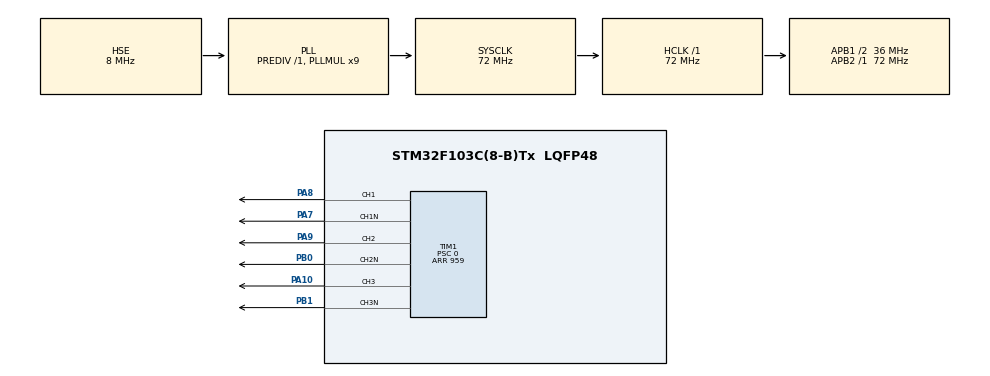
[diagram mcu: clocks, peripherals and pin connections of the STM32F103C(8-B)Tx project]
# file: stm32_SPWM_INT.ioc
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Mcu.Family=STM32F1
Mcu.Name=STM32F103C(8-B)Tx
Mcu.Package=LQFP48
NVIC.PriorityGroup=NVIC_PRIORITYGROUP_4
NVIC.TIM1_CC_IRQn=true\:0\:0\:false\:false\:true\:true\:true\:true
NVIC.TIM1_TRG_COM_IRQn=true\:0\:0\:false\:false\:true\:true\:true\:true
NVIC.TIM1_UP_IRQn=true\:0\:0\:false\:false\:true\:true\:true\:true
NVIC.TIM2_IRQn=true\:0\:0\:false\:false\:true\:true\:true\:true
PA10.Signal=S_TIM1_CH3
PA7.Mode=PWM Generation1 CH1 CH1N
PA7.Signal=TIM1_CH1N
PA8.Signal=S_TIM1_CH1
PA9.Signal=S_TIM1_CH2
PB0.Mode=PWM Generation2 CH2 CH2N
PB0.Signal=TIM1_CH2N
PB1.Mode=PWM Generation3 CH3 CH3N
PB1.Signal=TIM1_CH3N
PD0-OSC_IN.Mode=HSE-External-Oscillator
PD0-OSC_IN.Signal=RCC_OSC_IN
PD1-OSC_OUT.Mode=HSE-External-Oscillator
PD1-OSC_OUT.Signal=RCC_OSC_OUT
ProjectManager.HeapSize=0x200
ProjectManager.StackSize=0x400
ProjectManager.TargetToolchain=STM32CubeIDE
RCC.AHBFreq_Value=72000000
RCC.APB1CLKDivider=RCC_HCLK_DIV2
RCC.APB1Freq_Value=36000000
RCC.APB1TimFreq_Value=72000000
RCC.APB2Freq_Value=72000000
RCC.APB2TimFreq_Value=72000000
RCC.HCLKFreq_Value=72000000
RCC.PLLMUL=RCC_PLL_MUL9
RCC.PLLSourceVirtual=RCC_PLLSOURCE_HSE
RCC.SYSCLKFreq_VALUE=72000000
RCC.SYSCLKSource=RCC_SYSCLKSOURCE_PLLCLK
RCC.USBFreq_Value=72000000
SH.S_TIM1_CH1.0=TIM1_CH1,PWM Generation1 CH1 CH1N
SH.S_TIM1_CH2.0=TIM1_CH2,PWM Generation2 CH2 CH2N
SH.S_TIM1_CH3.0=TIM1_CH3,PWM Generation3 CH3 CH3N
TIM1.Channel-PWM\ Generation1\ CH1\ CH1N=TIM_CHANNEL_1
TIM1.Channel-PWM\ Generation2\ CH2\ CH2N=TIM_CHANNEL_2
TIM1.Channel-PWM\ Generation3\ CH3\ CH3N=TIM_CHANNEL_3
TIM1.CounterMode=TIM_COUNTERMODE_CENTERALIGNED3
TIM1.DeadTime=172
TIM1.Period=959
TIM1.Prescaler=0
TIM1.TIM_MasterOutputTrigger=TIM_TRGO_ENABLE
TIM2.CounterMode=TIM_COUNTERMODE_CENTERALIGNED3
TIM2.Period=959
TIM2.Prescaler=0
TIM2.TIM_MasterOutputTrigger=TIM_TRGO_UPDATE
VP_TIM1_VS_ClockSourceINT.Mode=Internal
VP_TIM2_VS_ClockSourceINT.Mode=Internal
VP_TIM2_VS_ClockSourceITR.Mode=TriggerSource_ITR0
VP_TIM2_VS_ControllerModeTrigger.Mode=Trigger Mode
board=custom

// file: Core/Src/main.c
/* USER CODE BEGIN Header */
/**
  ******************************************************************************
  * @file           : main.c
  * @brief          : Main program body
  ******************************************************************************
  * @attention
  *
  * Copyright (c) 2024 STMicroelectronics.
  * All rights reserved.
  *
  * This software is licensed under terms that can be found in the LICENSE file
  * in the root directory of this software component.
  * If no LICENSE file comes with this software, it is provided AS-IS.
  *
  ******************************************************************************
  */
/* USER CODE END Header */
#include "main.h"

/* USER CODE BEGIN Includes */
#include "math.h"
/* USER CODE END Includes */

TIM_HandleTypeDef htim1;
TIM_HandleTypeDef htim2;

/* USER CODE BEGIN PV */
uint16_t nValues;
uint16_t counter = 0;
uint16_t sinValues[5000]; // Size depends on frequency

double m = 0.25;

uint16_t phaseA = 0;
uint16_t phaseB;
uint16_t phaseC;

uint16_t freq = 7.5; // Between 375 and 10 Hz
/* USER CODE END PV */

void SystemClock_Config(void);
static void MX_GPIO_Init(void);
static void MX_TIM1_Init(void);
static void MX_TIM2_Init(void);
/* USER CODE BEGIN PFP */
void sineValuesGeneration(void);
/* USER CODE END PFP */

int main(void)
{

  /* MCU Configuration--------------------------------------------------------*/

  /* Reset of all peripherals, Initializes the Flash interface and the Systick. */
  HAL_Init();

  /* Configure the system clock */
  SystemClock_Config();

  /* Initialize all configured peripherals */
  MX_GPIO_Init();
  MX_TIM1_Init();
  MX_TIM2_Init();
  /* USER CODE BEGIN 2 */
  sineValuesGeneration();

  HAL_TIM_Base_Start_IT(&htim2);
  HAL_Delay(250);

  HAL_TIM_PWM_Start(&htim1, TIM_CHANNEL_1);
  HAL_TIMEx_PWMN_Start(&htim1, TIM_CHANNEL_1);

  HAL_TIM_PWM_Start(&htim1, TIM_CHANNEL_2);
  HAL_TIMEx_PWMN_Start(&htim1, TIM_CHANNEL_2);

  HAL_TIM_PWM_Start(&htim1, TIM_CHANNEL_3);
  HAL_TIMEx_PWMN_Start(&htim1, TIM_CHANNEL_3);
  /* USER CODE END 2 */

  /* Infinite loop */
  while (1)
  {

  }
}

void SystemClock_Config(void)
{
  RCC_OscInitTypeDef RCC_OscInitStruct = {0};
  RCC_ClkInitTypeDef RCC_ClkInitStruct = {0};

  /** Initializes the RCC Oscillators according to the specified parameters
  * in the RCC_OscInitTypeDef structure.
  */
  RCC_OscInitStruct.OscillatorType = RCC_OSCILLATORTYPE_HSE;
  RCC_OscInitStruct.HSEState = RCC_HSE_ON;
  RCC_OscInitStruct.HSEPredivValue = RCC_HSE_PREDIV_DIV1;
  RCC_OscInitStruct.HSIState = RCC_HSI_ON;
  RCC_OscInitStruct.PLL.PLLState = RCC_PLL_ON;
  RCC_OscInitStruct.PLL.PLLSource = RCC_PLLSOURCE_HSE;
  RCC_OscInitStruct.PLL.PLLMUL = RCC_PLL_MUL9;
  if (HAL_RCC_OscConfig(&RCC_OscInitStruct) != HAL_OK)
  {
    Error_Handler();
  }

  /** Initializes the CPU, AHB and APB buses clocks
  */
  RCC_ClkInitStruct.ClockType = RCC_CLOCKTYPE_HCLK|RCC_CLOCKTYPE_SYSCLK
                              |RCC_CLOCKTYPE_PCLK1|RCC_CLOCKTYPE_PCLK2;
  RCC_ClkInitStruct.SYSCLKSource = RCC_SYSCLKSOURCE_PLLCLK;
  RCC_ClkInitStruct.AHBCLKDivider = RCC_SYSCLK_DIV1;
  RCC_ClkInitStruct.APB1CLKDivider = RCC_HCLK_DIV2;
  RCC_ClkInitStruct.APB2CLKDivider = RCC_HCLK_DIV1;

  if (HAL_RCC_ClockConfig(&RCC_ClkInitStruct, FLASH_LATENCY_2) != HAL_OK)
  {
    Error_Handler();
  }
}

static void MX_TIM1_Init(void)
{

  TIM_ClockConfigTypeDef sClockSourceConfig = {0};
  TIM_MasterConfigTypeDef sMasterConfig = {0};
  TIM_OC_InitTypeDef sConfigOC = {0};
  TIM_BreakDeadTimeConfigTypeDef sBreakDeadTimeConfig = {0};

  htim1.Instance = TIM1;
  htim1.Init.Prescaler = 0;
  htim1.Init.CounterMode = TIM_COUNTERMODE_CENTERALIGNED3;
  htim1.Init.Period = 959;
  htim1.Init.ClockDivision = TIM_CLOCKDIVISION_DIV1;
  htim1.Init.RepetitionCounter = 0;
  htim1.Init.AutoReloadPreload = TIM_AUTORELOAD_PRELOAD_DISABLE;
  if (HAL_TIM_Base_Init(&htim1) != HAL_OK)
  {
    Error_Handler();
  }
  sClockSourceConfig.ClockSource = TIM_CLOCKSOURCE_INTERNAL;
  if (HAL_TIM_ConfigClockSource(&htim1, &sClockSourceConfig) != HAL_OK)
  {
    Error_Handler();
  }
  if (HAL_TIM_PWM_Init(&htim1) != HAL_OK)
  {
    Error_Handler();
  }
  sMasterConfig.MasterOutputTrigger = TIM_TRGO_ENABLE;
  sMasterConfig.MasterSlaveMode = TIM_MASTERSLAVEMODE_DISABLE;
  if (HAL_TIMEx_MasterConfigSynchronization(&htim1, &sMasterConfig) != HAL_OK)
  {
    Error_Handler();
  }
  sConfigOC.OCMode = TIM_OCMODE_PWM1;
  sConfigOC.Pulse = 0;
  sConfigOC.OCPolarity = TIM_OCPOLARITY_HIGH;
  sConfigOC.OCNPolarity = TIM_OCNPOLARITY_HIGH;
  sConfigOC.OCFastMode = TIM_OCFAST_DISABLE;
  sConfigOC.OCIdleState = TIM_OCIDLESTATE_RESET;
  sConfigOC.OCNIdleState = TIM_OCNIDLESTATE_RESET;
  if (HAL_TIM_PWM_ConfigChannel(&htim1, &sConfigOC, TIM_CHANNEL_1) != HAL_OK)
  {
    Error_Handler();
  }
  if (HAL_TIM_PWM_ConfigChannel(&htim1, &sConfigOC, TIM_CHANNEL_2) != HAL_OK)
  {
    Error_Handler();
  }
  if (HAL_TIM_PWM_ConfigChannel(&htim1, &sConfigOC, TIM_CHANNEL_3) != HAL_OK)
  {
    Error_Handler();
  }
  sBreakDeadTimeConfig.OffStateRunMode = TIM_OSSR_DISABLE;
  sBreakDeadTimeConfig.OffStateIDLEMode = TIM_OSSI_DISABLE;
  sBreakDeadTimeConfig.LockLevel = TIM_LOCKLEVEL_OFF;
  sBreakDeadTimeConfig.DeadTime = 172;
  sBreakDeadTimeConfig.BreakState = TIM_BREAK_DISABLE;
  sBreakDeadTimeConfig.BreakPolarity = TIM_BREAKPOLARITY_HIGH;
  sBreakDeadTimeConfig.AutomaticOutput = TIM_AUTOMATICOUTPUT_DISABLE;
  if (HAL_TIMEx_ConfigBreakDeadTime(&htim1, &sBreakDeadTimeConfig) != HAL_OK)
  {
    Error_Handler();
  }
  HAL_TIM_MspPostInit(&htim1);

}

static void MX_TIM2_Init(void)
{

  TIM_ClockConfigTypeDef sClockSourceConfig = {0};
  TIM_SlaveConfigTypeDef sSlaveConfig = {0};
  TIM_MasterConfigTypeDef sMasterConfig = {0};

  htim2.Instance = TIM2;
  htim2.Init.Prescaler = 0;
  htim2.Init.CounterMode = TIM_COUNTERMODE_CENTERALIGNED3;
  htim2.Init.Period = 959;
  htim2.Init.ClockDivision = TIM_CLOCKDIVISION_DIV1;
  htim2.Init.AutoReloadPreload = TIM_AUTORELOAD_PRELOAD_DISABLE;
  if (HAL_TIM_Base_Init(&htim2) != HAL_OK)
  {
    Error_Handler();
  }
  sClockSourceConfig.ClockSource = TIM_CLOCKSOURCE_INTERNAL;
  if (HAL_TIM_ConfigClockSource(&htim2, &sClockSourceConfig) != HAL_OK)
  {
    Error_Handler();
  }
  sSlaveConfig.SlaveMode = TIM_SLAVEMODE_TRIGGER;
  sSlaveConfig.InputTrigger = TIM_TS_ITR0;
  if (HAL_TIM_SlaveConfigSynchro(&htim2, &sSlaveConfig) != HAL_OK)
  {
    Error_Handler();
  }
  sMasterConfig.MasterOutputTrigger = TIM_TRGO_UPDATE;
  sMasterConfig.MasterSlaveMode = TIM_MASTERSLAVEMODE_DISABLE;
  if (HAL_TIMEx_MasterConfigSynchronization(&htim2, &sMasterConfig) != HAL_OK)
  {
    Error_Handler();
  }

}

static void MX_GPIO_Init(void)
{

  /* GPIO Ports Clock Enable */
  __HAL_RCC_GPIOD_CLK_ENABLE();
  __HAL_RCC_GPIOA_CLK_ENABLE();
  __HAL_RCC_GPIOB_CLK_ENABLE();

}

/* USER CODE BEGIN 4 */
/**
  * @brief  This function pre-generates the sine values for modulator signal.
  * @retval None
  */
void sineValuesGeneration(void){
	nValues = 2*floor(37500/freq);
	phaseB = 1*floor(nValues/3.00) + phaseA;
	phaseC = 2*floor(nValues/3.00) + phaseA;
	for(uint16_t i = 0; i < (nValues/2); i++){
		sinValues[i] = round(959.00*(0.5*m*sin(i*2*3.14159265358979323846/nValues)+0.5));
	}
}

//void changeFrequency(uint16_t f){
//	freq = f;
//	nValues = 2*floor(37500/freq);
//}

void HAL_TIM_PeriodElapsedCallback(TIM_HandleTypeDef *htim){
	if((counter + phaseA)%nValues < (nValues/2)){
		TIM1->CCR1 = sinValues[counter + phaseA];
	}
	else{
		TIM1->CCR1 = 959-sinValues[(counter + phaseA)%(nValues/2)];
	}
	if((counter + phaseB)%nValues < (nValues/2)){
		TIM1->CCR2 = sinValues[counter + phaseB];
	}
	else{
		TIM1->CCR2 = 959-sinValues[(counter + phaseB)%(nValues/2)];
	}
	if((counter + phaseC)%nValues < (nValues/2)){
		TIM1->CCR3 = sinValues[counter + phaseC];
	}
	else{
		TIM1->CCR3 = 959-sinValues[(counter + phaseC)%(nValues/2)];
	}
	counter++;
	if(counter > nValues) counter = 0;
}
/* USER CODE END 4 */

void Error_Handler(void)
{
  __disable_irq();
  while (1)
  {
  }
}
